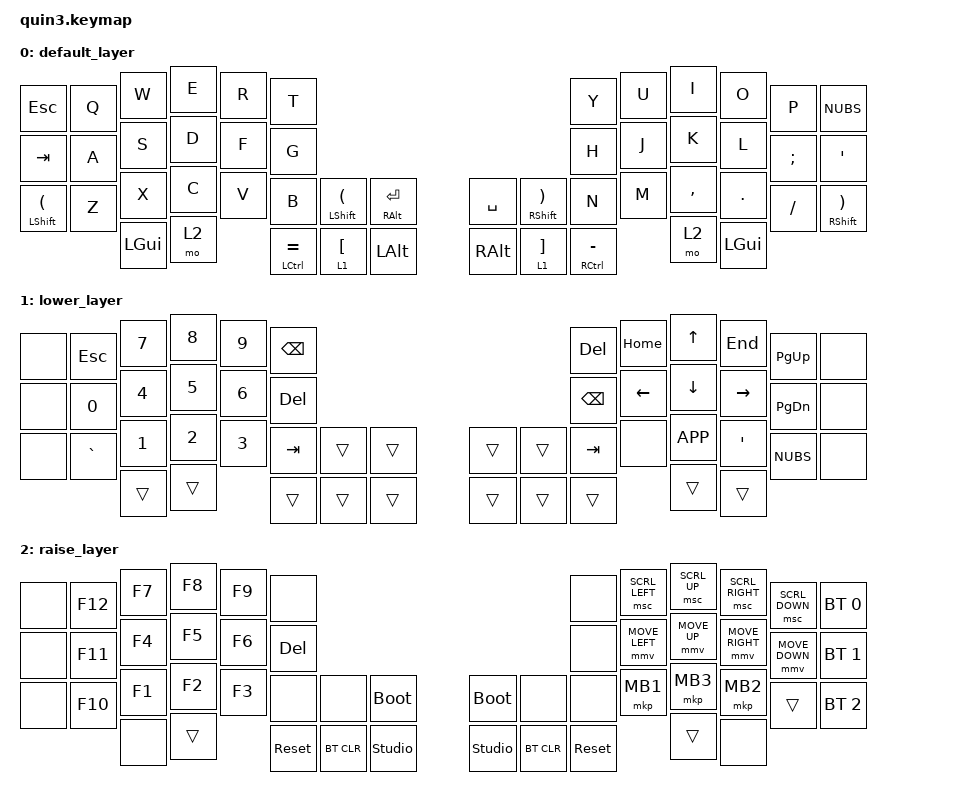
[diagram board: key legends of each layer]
/*
 * Copyright (c) 2020 The ZMK Contributors
 *
 * SPDX-License-Identifier: MIT
 */

#include <behaviors.dtsi>
#include <dt-bindings/zmk/keys.h>
#include <dt-bindings/zmk/bt.h>
#include <dt-bindings/zmk/pointing.h>

#define DEFAULT 0
#define LWR 1
#define RSE 2

// ------------------------------------------------------------------------------------
// |  0 |  1 |  2 |  3 |  4 |  5 |                      |  6 |  7 |  8 |  9 | 10 | 11 |
// | 12 | 13 | 14 | 15 | 16 | 17 |                      | 18 | 19 | 20 | 21 | 22 | 23 |
// | 24 | 25 | 26 | 27 | 28 | 29 | 30 | 31 |  | 32 | 33 | 34 | 35 | 36 | 37 | 38 | 39 |
//           | 40 | 41 |    | 42 | 43 | 44 |  | 45 | 46 | 47 |    | 48 | 49 |
// ------------------------------------------------------------------------------------

/ {
    combos {
        compatible = "zmk,combos";

        esc {
            bindings = <&kp ESC>;
            key-positions = <1 2>;
        };

        space {
            bindings = <&kp SPACE>;
            key-positions = <14 15>;
        };

        tab {
            bindings = <&kp TAB>;
            key-positions = <13 14>;
        };

        enter {
            bindings = <&kp ENTER>;
            key-positions = <20 21>;
        };
    };

    keymap {
        compatible = "zmk,keymap";

        default_layer {
            bindings = <
&kp ESC         &kp Q  &kp W     &kp E  &kp R  &kp T                                                                       &kp Y            &kp U  &kp I      &kp O    &kp P     &kp NUBS
&kp TAB         &kp A  &kp S     &kp D  &kp F  &kp G                                                                       &kp H            &kp J  &kp K      &kp L    &kp SEMI  &kp SQT
&mt LSHFT LPAR  &kp Z  &kp X     &kp C  &kp V  &kp B            &mt LSHFT LPAR  &mt RALT RET    &kp SPACE  &mt RSHFT RPAR  &kp N            &kp M  &kp COMMA  &kp DOT  &kp FSLH  &mt RSHFT RPAR
                       &kp LGUI  &mo 2         &mt LCTRL EQUAL  &lt 1 LBKT      &kp LALT        &kp RALT   &lt 1 RBKT      &mt RCTRL MINUS         &mo 2      &kp LGUI
            >;
        };

        lower_layer {
            bindings = <
&none  &kp ESC    &kp N7  &kp N8  &kp N9  &kp BSPC                                    &kp DEL   &kp HOME  &kp UP     &kp END    &kp PG_UP  &none
&none  &kp N0     &kp N4  &kp N5  &kp N6  &kp DEL                                     &kp BSPC  &kp LEFT  &kp DOWN   &kp RIGHT  &kp PG_DN  &none
&none  &kp GRAVE  &kp N1  &kp N2  &kp N3  &kp TAB   &trans  &trans    &trans  &trans  &kp TAB   &none     &kp K_APP  &kp SQT    &kp NUBS   &none
                  &trans  &trans          &trans    &trans  &trans    &trans  &trans  &trans              &trans     &trans
            >;
        };

        raise_layer {
            bindings = <
&none  &kp F12  &kp F7  &kp F8  &kp F9  &none                                                                  &none       &msc SCRL_LEFT  &msc SCRL_UP  &msc SCRL_RIGHT  &msc SCRL_DOWN  &bt BT_SEL 0
&none  &kp F11  &kp F4  &kp F5  &kp F6  &kp DEL                                                                &none       &mmv MOVE_LEFT  &mmv MOVE_UP  &mmv MOVE_RIGHT  &mmv MOVE_DOWN  &bt BT_SEL 1
&none  &kp F10  &kp F1  &kp F2  &kp F3  &none       &none       &bootloader        &bootloader     &none       &none       &mkp MB1        &mkp MB3      &mkp MB2         &trans          &bt BT_SEL 2
                &none   &trans          &sys_reset  &bt BT_CLR  &studio_unlock     &studio_unlock  &bt BT_CLR  &sys_reset                  &trans        &none
            >;
        };
    };
};

